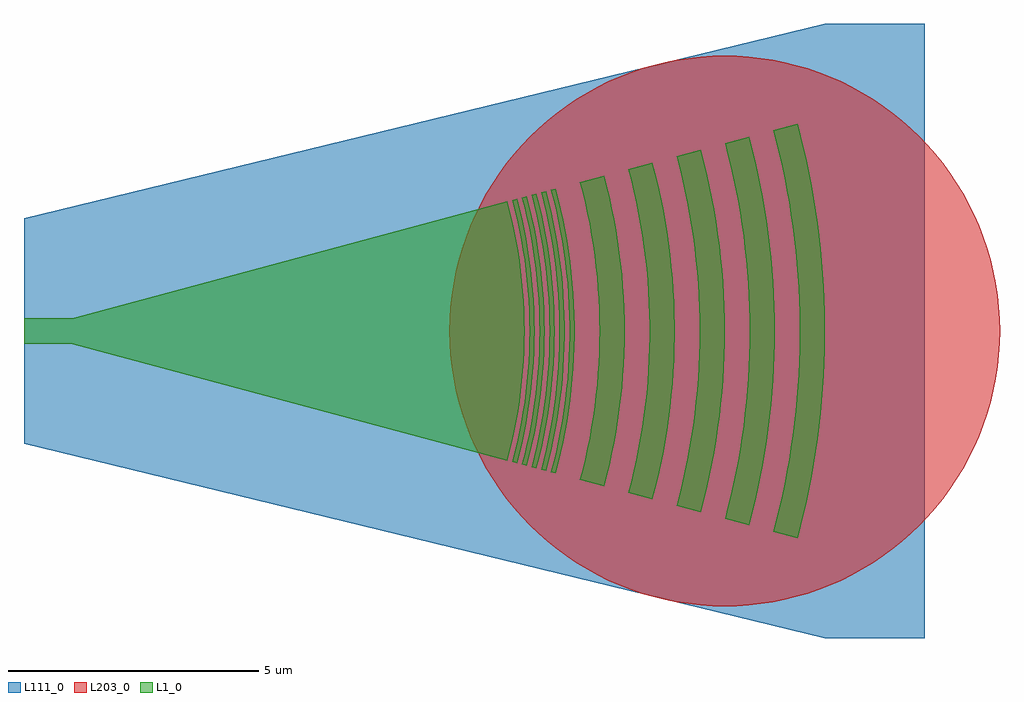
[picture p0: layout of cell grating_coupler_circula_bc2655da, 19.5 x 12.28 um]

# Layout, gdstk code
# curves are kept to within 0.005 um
import gdstk
lib = gdstk.Library(unit=1e-6, precision=1e-09)
def R(c, l, rs):  # rectangles x0, y0, x1, y1
    for r in rs: c.add(gdstk.rectangle(r[:2], r[2:], *l))
def P(c, l, *ps):  # polygons
    for p in ps: c.add(gdstk.Polygon(p, *l))
L1_0 = (1, 0)
L111_0 = (111, 0)
L203_0 = (203, 0)

circle_347ccaa3 = lib.new_cell('circle_347ccaa3')
P(circle_347ccaa3, L203_0, [(5.5,0),(5.495,0.24),(5.453,0.718),(5.37,1.19),(5.313,1.424),(5.245,1.654),(5.168,1.881),(5.081,2.105),(4.985,2.324),(4.879,2.54),(4.639,2.955),(4.505,3.155),(4.213,3.535),(4.055,3.716),(3.889,3.889),(3.716,4.055),(3.535,4.213),(3.155,4.505),(2.955,4.639),(2.54,4.879),(2.324,4.985),(2.105,5.081),(1.881,5.168),(1.654,5.245),(1.424,5.313),(1.19,5.37),(0.718,5.453),(0.24,5.495),(0,5.5),(-0.24,5.495),(-0.718,5.453),(-1.19,5.37),(-1.424,5.313),(-1.654,5.245),(-1.881,5.168),(-2.105,5.081),(-2.324,4.985),(-2.54,4.879),(-2.955,4.639),(-3.155,4.505),(-3.535,4.213),(-3.716,4.055),(-3.889,3.889),(-4.055,3.716),(-4.213,3.535),(-4.505,3.155),(-4.639,2.955),(-4.879,2.54),(-4.985,2.324),(-5.081,2.105),(-5.168,1.881),(-5.245,1.654),(-5.313,1.424),(-5.37,1.19),(-5.453,0.718),(-5.495,0.24),(-5.5,0),(-5.495,-0.24),(-5.453,-0.718),(-5.37,-1.19),(-5.313,-1.424),(-5.245,-1.654),(-5.168,-1.881),(-5.081,-2.105),(-4.985,-2.324),(-4.879,-2.54),(-4.639,-2.955),(-4.505,-3.155),(-4.213,-3.535),(-4.055,-3.716),(-3.889,-3.889),(-3.716,-4.055),(-3.535,-4.213),(-3.155,-4.505),(-2.955,-4.639),(-2.54,-4.879),(-2.324,-4.985),(-2.105,-5.081),(-1.881,-5.168),(-1.654,-5.245),(-1.424,-5.313),(-1.19,-5.37),(-0.718,-5.453),(-0.24,-5.495),(0,-5.5),(0.24,-5.495),(0.718,-5.453),(1.19,-5.37),(1.424,-5.313),(1.654,-5.245),(1.881,-5.168),(2.105,-5.081),(2.324,-4.985),(2.54,-4.879),(2.955,-4.639),(3.155,-4.505),(3.535,-4.213),(3.716,-4.055),(3.889,-3.889),(4.055,-3.716),(4.213,-3.535),(4.505,-3.155),(4.639,-2.955),(4.879,-2.54),(4.985,-2.324),(5.081,-2.105),(5.168,-1.881),(5.245,-1.654),(5.313,-1.424),(5.37,-1.19),(5.453,-0.718),(5.495,-0.24)])

grating_coupler_circula_ = lib.new_cell('grating_coupler_circula_bc2655da')
R(grating_coupler_circula_, L1_0, [(0,-0.25,1.033,0.25)])
P(grating_coupler_circula_, L1_0, [(9.852,-2.64),(9.994,-2.04),(10.068,-1.636),(10.126,-1.229),(10.181,-0.616),(10.2,0),(10.181,0.616),(10.126,1.229),(10.068,1.636),(9.994,2.04),(9.852,2.64),(9.756,2.614),(9.896,2.02),(10,1.419),(10.049,1.015),(10.082,0.61),(10.1,0),(10.082,-0.61),(10.049,-1.015),(10,-1.419),(9.896,-2.02),(9.756,-2.614)],
  [(10.046,-2.692),(10.19,-2.08),(10.297,-1.461),(10.347,-1.045),(10.381,-0.628),(10.4,0),(10.381,0.628),(10.347,1.045),(10.297,1.461),(10.19,2.08),(10.046,2.692),(9.949,2.666),(10.092,2.06),(10.167,1.652),(10.225,1.242),(10.281,0.622),(10.3,0),(10.281,-0.622),(10.225,-1.242),(10.167,-1.652),(10.092,-2.06),(9.949,-2.666)],
  [(10.239,-2.743),(10.386,-2.12),(10.463,-1.7),(10.523,-1.278),(10.581,-0.64),(10.6,0),(10.581,0.64),(10.523,1.278),(10.463,1.7),(10.386,2.12),(10.239,2.743),(10.142,2.718),(10.288,2.1),(10.396,1.475),(10.447,1.055),(10.481,0.634),(10.5,0),(10.481,-0.634),(10.447,-1.055),(10.396,-1.475),(10.288,-2.1),(10.142,-2.718)],
  [(10.432,-2.795),(10.577,-2.184),(10.686,-1.565),(10.759,-0.941),(10.787,-0.523),(10.799,-0.105),(10.795,0.314),(10.775,0.732),(10.714,1.358),(10.654,1.772),(10.577,2.184),(10.432,2.795),(10.335,2.769),(10.479,2.164),(10.587,1.551),(10.659,0.933),(10.687,0.519),(10.699,0.104),(10.687,-0.519),(10.659,-0.933),(10.615,-1.345),(10.555,-1.756),(10.479,-2.164),(10.335,-2.769)],
  [(10.625,-2.847),(10.773,-2.224),(10.851,-1.805),(10.913,-1.383),(10.975,-0.746),(10.999,-0.107),(10.995,0.32),(10.975,0.746),(10.913,1.383),(10.851,1.805),(10.773,2.224),(10.625,2.847),(10.529,2.821),(10.63,2.411),(10.716,1.997),(10.814,1.37),(10.875,0.739),(10.899,0.106),(10.895,-0.317),(10.875,-0.739),(10.814,-1.37),(10.716,-1.997),(10.63,-2.411),(10.529,-2.821)],
  [(11.591,-3.106),(11.699,-2.67),(11.791,-2.231),(11.897,-1.566),(11.948,-1.12),(11.981,-0.673),(12,0),(11.981,0.673),(11.948,1.12),(11.897,1.566),(11.791,2.231),(11.699,2.67),(11.591,3.106),(11.108,2.976),(11.258,2.349),(11.338,1.926),(11.402,1.501),(11.45,1.074),(11.482,0.645),(11.5,0),(11.482,-0.645),(11.45,-1.074),(11.402,-1.501),(11.338,-1.926),(11.258,-2.349),(11.108,-2.976)],
  [(12.557,-3.365),(12.721,-2.68),(12.809,-2.219),(12.881,-1.755),(12.936,-1.289),(12.974,-0.821),(12.999,-0.117),(12.987,0.587),(12.957,1.055),(12.911,1.522),(12.847,1.987),(12.767,2.45),(12.67,2.909),(12.557,3.365),(12.074,3.235),(12.232,2.577),(12.317,2.134),(12.386,1.688),(12.459,1.014),(12.487,0.564),(12.499,0.113),(12.495,-0.338),(12.475,-0.789),(12.438,-1.239),(12.386,-1.688),(12.317,-2.134),(12.232,-2.577),(12.074,-3.235)],
  [(13.523,-3.623),(13.641,-3.149),(13.743,-2.671),(13.828,-2.19),(13.896,-1.706),(13.947,-1.22),(13.981,-0.733),(14,0),(13.981,0.733),(13.947,1.22),(13.896,1.706),(13.828,2.19),(13.743,2.671),(13.641,3.149),(13.523,3.623),(13.04,3.494),(13.205,2.807),(13.295,2.344),(13.369,1.879),(13.426,1.411),(13.467,0.942),(13.492,0.471),(13.5,0),(13.492,-0.471),(13.467,-0.942),(13.426,-1.411),(13.369,-1.879),(13.295,-2.344),(13.205,-2.807),(13.04,-3.494)],
  [(14.489,-3.882),(14.608,-3.406),(14.712,-2.926),(14.8,-2.443),(14.872,-1.958),(14.928,-1.47),(14.968,-0.981),(14.992,-0.491),(15,0),(14.992,0.491),(14.968,0.981),(14.928,1.47),(14.872,1.958),(14.8,2.443),(14.712,2.926),(14.608,3.406),(14.489,3.882),(14.006,3.753),(14.121,3.293),(14.221,2.829),(14.306,2.362),(14.376,1.893),(14.43,1.421),(14.469,0.948),(14.492,0.474),(14.5,0),(14.492,-0.474),(14.469,-0.948),(14.43,-1.421),(14.376,-1.893),(14.306,-2.362),(14.221,-2.829),(14.121,-3.293),(14.006,-3.753)],
  [(15.455,-4.141),(15.578,-3.649),(15.686,-3.153),(15.778,-2.653),(15.855,-2.151),(15.915,-1.647),(15.959,-1.141),(15.987,-0.634),(15.999,-0.127),(15.995,0.381),(15.975,0.888),(15.939,1.394),(15.887,1.9),(15.819,2.403),(15.686,3.153),(15.578,3.649),(15.455,4.141),(14.972,4.012),(15.092,3.535),(15.196,3.054),(15.285,2.57),(15.359,2.084),(15.418,1.596),(15.461,1.106),(15.488,0.615),(15.5,0.123),(15.496,-0.369),(15.461,-1.106),(15.418,-1.596),(15.359,-2.084),(15.285,-2.57),(15.196,-3.054),(15.092,-3.535),(14.972,-4.012)],
  [(0,0),(9.659,-2.588),(9.756,-2.197),(9.871,-1.604),(9.927,-1.205),(9.982,-0.604),(10,0),(9.982,0.604),(9.927,1.205),(9.871,1.604),(9.756,2.197),(9.659,2.588)])
R(grating_coupler_circula_, L111_0, [(16,-6.141,18,6.141)])
P(grating_coupler_circula_, L111_0, [(0,2.25),(0,-2.25),(16,-6.141),(16,6.141)])
grating_coupler_circula_.add(gdstk.Reference(circle_347ccaa3, (14,0)))

lib.write_gds('grating_coupler_circula_bc2655da.gds')
